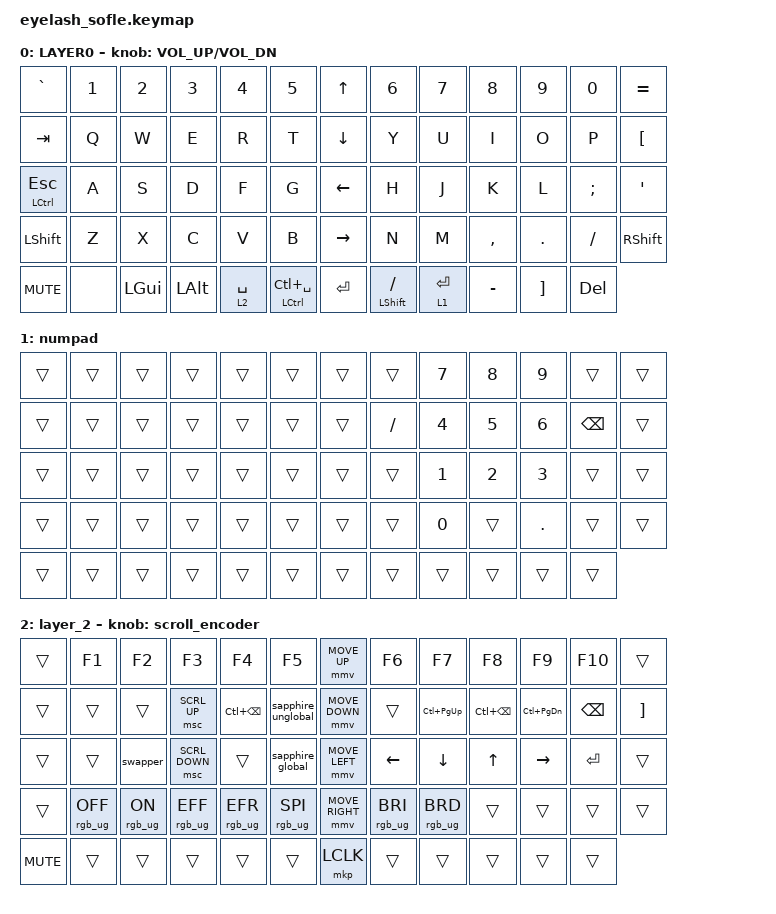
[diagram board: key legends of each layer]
#define ZMK_POINTING_DEFAULT_MOVE_VAL 1200  // 600
#define ZMK_POINTING_DEFAULT_SCRL_VAL 25   // 10

#include <input/processors.dtsi>
#include <zephyr/dt-bindings/input/input-event-codes.h>
#include <behaviors.dtsi>
#include <dt-bindings/zmk/keys.h>
#include <dt-bindings/zmk/pointing.h>
#include <dt-bindings/zmk/rgb.h>

&mmv_input_listener { input-processors = <&zip_xy_scaler 2 1>; };

&msc_input_listener { input-processors = <&zip_scroll_scaler 2 1>; };

&msc {
    acceleration-exponent = <1>;      // 0
    time-to-max-speed-ms = <0>;       // 300
    delay-ms = <0>;                   // 0
};

&mmv {
    time-to-max-speed-ms = <500>;
    acceleration-exponent = <1>;
    trigger-period-ms = <16>;
};

/ {
    scroll_encoder: scroll_encoder {
        compatible = "zmk,behavior-sensor-rotate";
        #sensor-binding-cells = <0>;
        bindings = <&msc SCRL_DOWN>, <&msc SCRL_UP>;

        tap-ms = <100>;
    };

    behaviors {
        swapper: swapper {
            compatible = "zmk,behavior-tri-state";
            #binding-cells = <0>;
            bindings = <&kt LALT>, <&kp TAB>, <&kt LALT>;
        };

        lt_thumb: lt_thumb {
            compatible = "zmk,behavior-hold-tap";
            label = "LT_THUMB";
            #binding-cells = <2>;
            tapping-term-ms = <250>;
            flavor = "balanced";
            bindings = <&mo>, <&kp>;
        };

        mt_thumb: mt_thumb {
            compatible = "zmk,behavior-hold-tap";
            label = "MT_THUMB";
            #binding-cells = <2>;
            tapping-term-ms = <250>;
            flavor = "balanced";
            bindings = <&kp>, <&kp>;
        };
    };

    macros {
        sapphire_global: sapphire_global {
            compatible = "zmk,behavior-macro";
            #binding-cells = <0>;
            bindings = <&kp LC(G) &kp ENTER>;
            label = "SAPPHIRE_GLOBAL";
        };

        sapphire_unglobal: sapphire_unglobal {
            compatible = "zmk,behavior-macro";
            #binding-cells = <0>;
            bindings = <&kp LC(U) &kp ENTER>;
            label = "SAPPHIRE_UNGLOBAL";
        };
    };

    combos {
        compatible = "zmk,combos";

        slash {
            bindings = <&kp SLASH>;
            key-positions = <9 10>;
            timeout-ms = <60>;
            layers = <0>;
        };
    };

    keymap {
        compatible = "zmk,keymap";

        layer0 {
            bindings = <
&kp GRAVE       &kp N1  &kp N2        &kp N3        &kp N4             &kp N5                 &kp UP_ARROW     &kp N6                &kp N7             &kp N8     &kp N9             &kp N0      &kp EQUAL
&kp TAB         &kp Q   &kp W         &kp E         &kp R              &kp T                  &kp DOWN_ARROW   &kp Y                 &kp U              &kp I      &kp O              &kp P       &kp LBKT
&mt LCTRL ESC   &kp A   &kp S         &kp D         &kp F              &kp G                  &kp LEFT_ARROW   &kp H                 &kp J              &kp K      &kp L              &kp SEMI    &kp APOS
&kp LEFT_SHIFT  &kp Z   &kp X         &kp C         &kp V              &kp B                  &kp RIGHT_ARROW  &kp N                 &kp M              &kp COMMA  &kp DOT            &kp SLASH   &kp RSHFT
&kp C_MUTE      &none   &kp LEFT_GUI  &kp LEFT_ALT  &lt_thumb 2 SPACE  &mt LCTRL LC(SPACE)    &kp ENTER        &mt LEFT_SHIFT SLASH  &lt_thumb 1 ENTER  &kp MINUS  &kp RIGHT_BRACKET  &kp DELETE
            >;

            sensor-bindings = <&inc_dec_kp C_VOLUME_UP C_VOL_DN>;
            display-name = "LAYER0";
        };

        numpad {
            bindings = <
&trans  &trans  &trans  &trans  &trans  &trans    &trans  &trans     &kp N7  &kp N8  &kp N9   &trans         &trans
&trans  &trans  &trans  &trans  &trans  &trans    &trans  &kp SLASH  &kp N4  &kp N5  &kp N6   &kp BACKSPACE  &trans
&trans  &trans  &trans  &trans  &trans  &trans    &trans  &trans     &kp N1  &kp N2  &kp N3   &trans         &trans
&trans  &trans  &trans  &trans  &trans  &trans    &trans  &trans     &kp N0  &trans  &kp DOT  &trans         &trans
&trans  &trans  &trans  &trans  &trans  &trans    &trans  &trans     &trans  &trans  &trans   &trans
            >;
        };

        layer_2 {
            bindings = <
&trans      &kp F1           &kp F2          &kp F3           &kp F4             &kp F5                &mmv MOVE_UP     &kp F6           &kp F7           &kp F8             &kp F9             &kp F10        &trans
&trans      &trans           &trans          &msc SCRL_UP     &kp LC(BACKSPACE)  &sapphire_unglobal    &mmv MOVE_DOWN   &trans           &kp LC(PAGE_UP)  &kp LC(BACKSPACE)  &kp LC(PAGE_DOWN)  &kp BACKSPACE  &kp RIGHT_BRACKET
&trans      &trans           &swapper        &msc SCRL_DOWN   &trans             &sapphire_global      &mmv MOVE_LEFT   &kp LEFT         &kp DOWN         &kp UP             &kp RIGHT          &kp ENTER      &trans
&trans      &rgb_ug RGB_OFF  &rgb_ug RGB_ON  &rgb_ug RGB_EFF  &rgb_ug RGB_EFR    &rgb_ug RGB_SPI       &mmv MOVE_RIGHT  &rgb_ug RGB_BRI  &rgb_ug RGB_BRD  &trans             &trans             &trans         &trans
&kp C_MUTE  &trans           &trans          &trans           &trans             &trans                &mkp LCLK        &trans           &trans           &trans             &trans             &trans
            >;

            display-name = "layer_2";
            sensor-bindings = <&scroll_encoder>;
        };
    };
};
